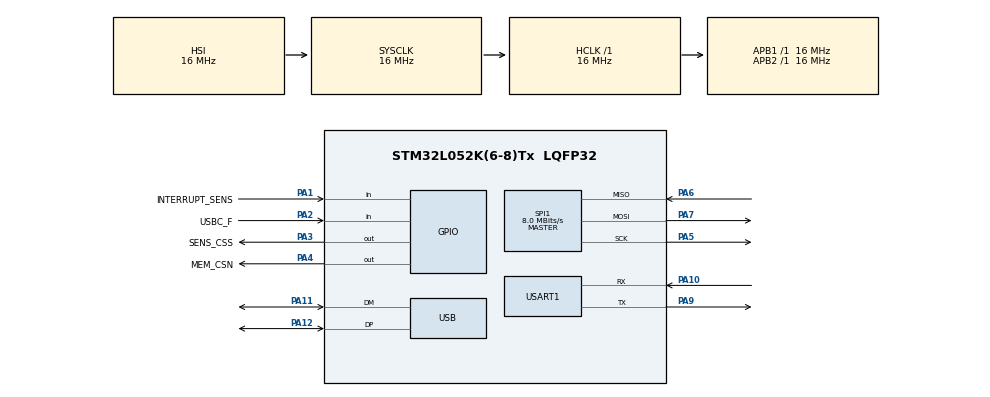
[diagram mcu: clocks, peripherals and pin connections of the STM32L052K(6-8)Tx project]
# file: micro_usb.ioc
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Mcu.Family=STM32L0
Mcu.Name=STM32L052K(6-8)Tx
Mcu.Package=LQFP32
NVIC.USB_IRQn=true\:0\:0\:false\:false\:true\:false\:true\:true
PA1.GPIO_Label=INTERRUPT_SENS
PA1.Signal=GPIO_Input
PA10.Mode=Asynchronous
PA10.Signal=USART1_RX
PA11.Mode=Device
PA11.Signal=USB_DM
PA12.Mode=Device
PA12.Signal=USB_DP
PA13.Mode=Serial_Wire
PA13.Signal=SYS_SWDIO
PA14.Mode=Serial_Wire
PA14.Signal=SYS_SWCLK
PA2.GPIO_Label=USBC_F
PA2.Signal=GPIO_Input
PA3.GPIO_Label=SENS_CSS
PA3.Signal=GPIO_Output
PA4.GPIO_Label=MEM_CSN
PA4.Signal=GPIO_Output
PA5.Mode=Full_Duplex_Master
PA5.Signal=SPI1_SCK
PA6.Mode=Full_Duplex_Master
PA6.Signal=SPI1_MISO
PA7.Mode=Full_Duplex_Master
PA7.Signal=SPI1_MOSI
PA9.Mode=Asynchronous
PA9.Signal=USART1_TX
ProjectManager.HeapSize=0x200
ProjectManager.StackSize=0x400
ProjectManager.TargetToolchain=EWARM V8.32
RCC.AHBFreq_Value=16000000
RCC.APB1Freq_Value=16000000
RCC.APB1TimFreq_Value=16000000
RCC.APB2Freq_Value=16000000
RCC.APB2TimFreq_Value=16000000
RCC.HCLKFreq_Value=16000000
RCC.HSI16_VALUE=16000000
RCC.HSI48MClockSelection=RCC_USBCLKSOURCE_HSI48
RCC.HSI48_VALUE=48000000
RCC.HSI_VALUE=16000000
RCC.LSE_VALUE=32768
RCC.MSI_VALUE=2097000
RCC.PLLMUL=RCC_PLLMUL_6
RCC.SYSCLKFreq_VALUE=16000000
RCC.SYSCLKSource=RCC_SYSCLKSOURCE_HSI
RCC.VCOOutputFreq_Value=96000000
SPI1.CalculateBaudRate=8.0 MBits/s
SPI1.Direction=SPI_DIRECTION_2LINES
SPI1.Mode=SPI_MODE_MASTER
SPI1.VirtualType=VM_MASTER
USART1.VirtualMode-Asynchronous=VM_ASYNC
USB_DEVICE.CLASS_NAME_FS=CDC
USB_DEVICE.VirtualMode=Cdc
USB_DEVICE.VirtualModeFS=Cdc_FS
VP_USB_DEVICE_VS_USB_DEVICE_CDC_FS.Mode=CDC_FS
board=custom

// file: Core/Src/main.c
/* USER CODE BEGIN Header */
/**
  ******************************************************************************
  * @file           : main.c
  * @brief          : Main program body
  ******************************************************************************
  * @attention
  *
  * Copyright (c) 2026 STMicroelectronics.
  * All rights reserved.
  *
  * This software is licensed under terms that can be found in the LICENSE file
  * in the root directory of this software component.
  * If no LICENSE file comes with this software, it is provided AS-IS.
  *
  ******************************************************************************
  */
/* USER CODE END Header */
#include "main.h"
#include "spi.h"
#include "usart.h"
#include "usb_device.h"
#include "gpio.h"

/* USER CODE BEGIN PD */
/* Modifica le etichette dei PIN/PORT in base a come li hai nominati su CubeMX */
#define SENSOR_CS_PORT GPIOA
#define SENSOR_CS_PIN  GPIO_PIN_4

#define MEM_CS_PORT    GPIOB
#define MEM_CS_PIN     GPIO_PIN_12

#define DATA_SIZE      2 /* Dimensione in byte dei dati del sensore */
/* USER CODE END PD */

/* USER CODE BEGIN PV */
extern SPI_HandleTypeDef hspi1;

uint8_t sensor_tx_buf[DATA_SIZE] = {0x00, 0x00}; /* Buffer di trasmissione dummy per far generare il clock al DMA */
uint8_t sensor_rx_buf[DATA_SIZE] = {0};          /* Buffer in cui il DMA salva i dati letti dal sensore */
/* USER CODE END PV */

void SystemClock_Config(void);

int main(void)
{

  /* MCU Configuration--------------------------------------------------------*/

  /* Reset of all peripherals, Initializes the Flash interface and the Systick. */
  HAL_Init();

  /* Configure the system clock */
  SystemClock_Config();

  /* Initialize all configured peripherals */
  MX_GPIO_Init();
  MX_SPI1_Init();
  MX_USART1_UART_Init();
  MX_USB_DEVICE_Init();
  /* USER CODE BEGIN 2 */

  /* 1. Assert del chip select del sensore di pressione (Attivo Basso) */
  HAL_GPIO_WritePin(SENSOR_CS_PORT, SENSOR_CS_PIN, GPIO_PIN_RESET);

  /* 2. Configurazione del sensore */
  /* (Esempio: invio un comando di setup iniziale, adatta i byte al datasheet del tuo sensore) */
  uint8_t config_cmd[2] = {0x20, 0x80};
  HAL_SPI_Transmit(&hspi1, config_cmd, 2, HAL_MAX_DELAY);

  /* 3. Inizio trasferimento SPI con DMA per la prima acquisizione */
  HAL_SPI_TransmitReceive_DMA(&hspi1, sensor_tx_buf, sensor_rx_buf, DATA_SIZE);

  /* USER CODE END 2 */

  /* Infinite loop */
  while (1)
  {

    /* USER CODE BEGIN 3 */
    /* Mette la CPU in Sleep Mode finché non si verifica un Interrupt (es. fine trasferimento DMA) */
    __WFI();
  }
  /* USER CODE END 3 */
}

void SystemClock_Config(void)
{
  RCC_OscInitTypeDef RCC_OscInitStruct = {0};
  RCC_ClkInitTypeDef RCC_ClkInitStruct = {0};
  RCC_PeriphCLKInitTypeDef PeriphClkInit = {0};

  /** Configure the main internal regulator output voltage
  */
  __HAL_PWR_VOLTAGESCALING_CONFIG(PWR_REGULATOR_VOLTAGE_SCALE1);

  /** Initializes the RCC Oscillators according to the specified parameters
  * in the RCC_OscInitTypeDef structure.
  */
  RCC_OscInitStruct.OscillatorType = RCC_OSCILLATORTYPE_HSI|RCC_OSCILLATORTYPE_HSI48;
  RCC_OscInitStruct.HSIState = RCC_HSI_ON;
  RCC_OscInitStruct.HSICalibrationValue = RCC_HSICALIBRATION_DEFAULT;
  RCC_OscInitStruct.HSI48State = RCC_HSI48_ON;
  RCC_OscInitStruct.PLL.PLLState = RCC_PLL_NONE;
  if (HAL_RCC_OscConfig(&RCC_OscInitStruct) != HAL_OK)
  {
    Error_Handler();
  }

  /** Initializes the CPU, AHB and APB buses clocks
  */
  RCC_ClkInitStruct.ClockType = RCC_CLOCKTYPE_HCLK|RCC_CLOCKTYPE_SYSCLK
                              |RCC_CLOCKTYPE_PCLK1|RCC_CLOCKTYPE_PCLK2;
  RCC_ClkInitStruct.SYSCLKSource = RCC_SYSCLKSOURCE_HSI;
  RCC_ClkInitStruct.AHBCLKDivider = RCC_SYSCLK_DIV1;
  RCC_ClkInitStruct.APB1CLKDivider = RCC_HCLK_DIV1;
  RCC_ClkInitStruct.APB2CLKDivider = RCC_HCLK_DIV1;

  if (HAL_RCC_ClockConfig(&RCC_ClkInitStruct, FLASH_LATENCY_0) != HAL_OK)
  {
    Error_Handler();
  }
  PeriphClkInit.PeriphClockSelection = RCC_PERIPHCLK_USART1|RCC_PERIPHCLK_USB;
  PeriphClkInit.Usart1ClockSelection = RCC_USART1CLKSOURCE_PCLK2;
  PeriphClkInit.UsbClockSelection = RCC_USBCLKSOURCE_HSI48;
  if (HAL_RCCEx_PeriphCLKConfig(&PeriphClkInit) != HAL_OK)
  {
    Error_Handler();
  }
}

/* USER CODE BEGIN 4 */

/**
  * @brief  SPI Transfer Completed Callback
  * @param  hspi: SPI handle
  * @retval None
  */
void HAL_SPI_TxRxCpltCallback(SPI_HandleTypeDef *hspi)
{
  /* Verifichiamo che l'interrupt provenga dal bus SPI corretto */
  if (hspi->Instance == SPI1)
  {
    /* I dati acquisiti sono già disponibili in 'sensor_rx_buf' */

    /* 1. Deassert del chip select del sensore di pressione */
    HAL_GPIO_WritePin(SENSOR_CS_PORT, SENSOR_CS_PIN, GPIO_PIN_SET);

    /* 2. Assert del chip select della memoria esterna */
    HAL_GPIO_WritePin(MEM_CS_PORT, MEM_CS_PIN, GPIO_PIN_RESET);

    /* 3. Scrivo i dati in memoria */
    /* (Formattazione del comando di scrittura per la memoria SPI) */
    uint8_t mem_write_cmd[3];
    mem_write_cmd[0] = 0x02; /* Codice operativo di Write fittizio */
    mem_write_cmd[1] = sensor_rx_buf[0];
    mem_write_cmd[2] = sensor_rx_buf[1];

    HAL_SPI_Transmit(hspi, mem_write_cmd, 3, 10);

    /* 4. Deassert del chip select della memoria */
    HAL_GPIO_WritePin(MEM_CS_PORT, MEM_CS_PIN, GPIO_PIN_SET);

    /* 5. Assert del chip select del sensore di pressione per preparare la prossima lettura */
    HAL_GPIO_WritePin(SENSOR_CS_PORT, SENSOR_CS_PIN, GPIO_PIN_RESET);

    /* 6. Restart del trasferimento DMA per la successiva acquisizione */
    HAL_SPI_TransmitReceive_DMA(hspi, sensor_tx_buf, sensor_rx_buf, DATA_SIZE);
  }
}

/* USER CODE END 4 */

void Error_Handler(void)
{
  __disable_irq();
  while (1)
  {
  }
}
